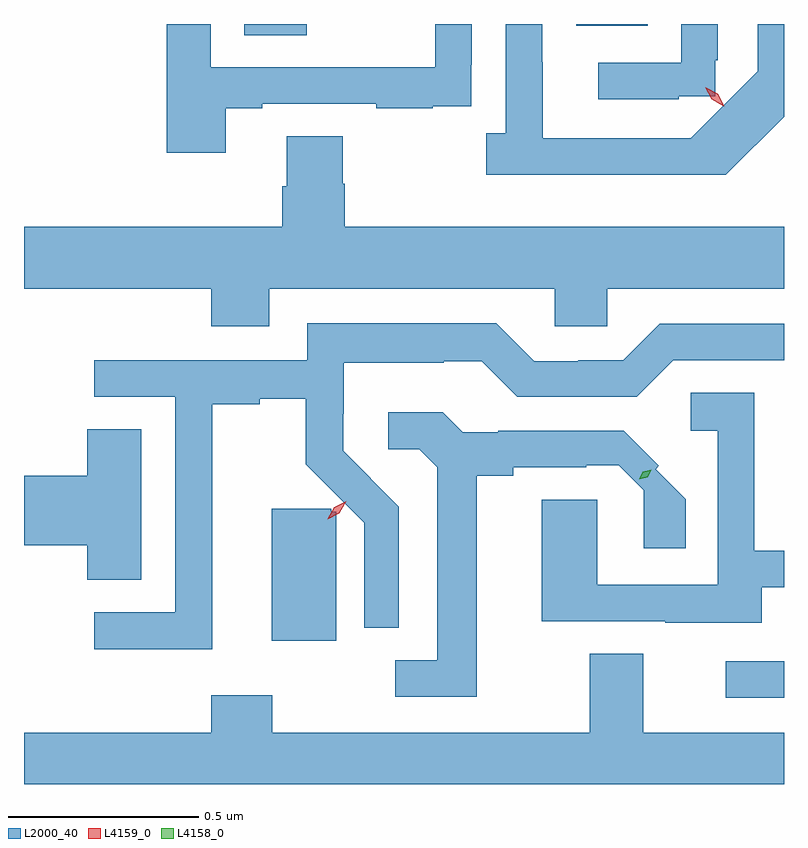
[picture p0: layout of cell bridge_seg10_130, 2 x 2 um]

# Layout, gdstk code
import gdstk
lib = gdstk.Library(unit=1e-6, precision=1e-09)
def R(c, l, rs):  # rectangles x0, y0, x1, y1
    for r in rs: c.add(gdstk.rectangle(r[:2], r[2:], *l))
def P(c, l, *ps):  # polygons
    for p in ps: c.add(gdstk.Polygon(p, *l))
L2000_40 = (2000, 40)
L4158_0 = (4158, 0)
L4159_0 = (4159, 0)

bridge_seg10_130 = lib.new_cell('bridge_seg10_130')
R(bridge_seg10_130, L2000_40, [(364.611,1291.248,364.764,1291.344), (363.344,1292.992,363.508,1293.021), (364.217,1293.017,364.405,1293.021)])
P(bridge_seg10_130, L2000_40, [(364.764,1292.777),(364.764,1293.021),(364.695,1293.021),(364.695,1292.897),(364.519,1292.721),(364.129,1292.721),(364.129,1292.921),(364.128,1292.921),(364.128,1293.021),(364.032,1293.021),(364.032,1292.734),(363.981,1292.734),(363.981,1292.624),(364.611,1292.624)],
  [(364.487,1292.831),(364.583,1292.831),(364.583,1292.926),(364.59,1292.926),(364.59,1293.021),(364.494,1293.021),(364.494,1292.919),(364.275,1292.919),(364.275,1292.823),(364.487,1292.823)],
  [(363.295,1292.799),(363.391,1292.799),(363.391,1292.811),(363.691,1292.811),(363.691,1292.799),(363.839,1292.799),(363.839,1292.805),(363.941,1292.805),(363.941,1292.914),(363.942,1292.914),(363.942,1293.021),(363.846,1293.021),(363.846,1292.907),(363.255,1292.907),(363.255,1293.021),(363.139,1293.021),(363.139,1292.682),(363.295,1292.682)],
  [(363.409,1292.324),(364.161,1292.324),(364.161,1292.226),(364.299,1292.226),(364.299,1292.324),(364.764,1292.324),(364.764,1292.488),(363.608,1292.488),(363.608,1292.601),(363.603,1292.601),(363.603,1292.726),(363.455,1292.726),(363.455,1292.594),(363.443,1292.594),(363.443,1292.488),(362.764,1292.488),(362.764,1292.324),(363.257,1292.324),(363.257,1292.225),(363.409,1292.225)],
  [(363.259,1292.02),(363.384,1292.02),(363.384,1292.035),(363.505,1292.035),(363.505,1291.863),(363.66,1291.709),(363.66,1291.432),(363.75,1291.432),(363.75,1291.75),(363.604,1291.898),(363.604,1291.995),(363.606,1291.995),(363.606,1292.129),(363.869,1292.129),(363.869,1292.133),(363.969,1292.133),(364.062,1292.04),(364.377,1292.04),(364.473,1292.136),(364.764,1292.136),(364.764,1292.232),(364.437,1292.232),(364.341,1292.136),(364.223,1292.136),(364.223,1292.133),(364.107,1292.133),(364.007,1292.233),(363.51,1292.233),(363.51,1292.136),(362.949,1292.136),(362.949,1292.04),(363.162,1292.04),(363.162,1291.473),(362.949,1291.473),(362.949,1291.375),(363.259,1291.375)],
  [(364.705,1291.539),(364.764,1291.539),(364.764,1291.635),(364.686,1291.635),(364.686,1292.051),(364.518,1292.051),(364.518,1291.95),(364.59,1291.95),(364.59,1291.545),(364.273,1291.545),(364.273,1291.769),(364.127,1291.769),(364.127,1291.449),(364.451,1291.449),(364.451,1291.445),(364.705,1291.445)],
  [(363.955,1291.832),(364.051,1291.832),(364.051,1291.854),(364.244,1291.854),(364.244,1291.86),(364.329,1291.86),(364.395,1291.794),(364.395,1291.641),(364.505,1291.641),(364.505,1291.77),(364.426,1291.849),(364.435,1291.858),(364.342,1291.95),(364.012,1291.95),(364.012,1291.947),(363.918,1291.947),(363.866,1291.999),(363.723,1291.999),(363.723,1291.902),(363.804,1291.902),(363.851,1291.855),(363.851,1291.347),(363.741,1291.347),(363.741,1291.251),(363.955,1291.251)],
  [(363.073,1291.955),(362.93,1291.955),(362.93,1291.832),(362.764,1291.832),(362.764,1291.649),(362.93,1291.649),(362.93,1291.558),(363.073,1291.558)],
  [(363.586,1291.738),(363.573,1291.738),(363.573,1291.746),(363.416,1291.746),(363.416,1291.398),(363.586,1291.398)],
  [(364.764,1291.156),(364.393,1291.156),(364.393,1291.364),(364.253,1291.364),(364.253,1291.156),(363.417,1291.156),(363.417,1291.255),(363.257,1291.255),(363.257,1291.156),(362.764,1291.156),(362.764,1291.021),(364.764,1291.021)])
P(bridge_seg10_130, L4158_0, [(364.383,1291.823),(364.383,1291.823),(364.392,1291.843),(364.414,1291.848),(364.415,1291.848),(364.415,1291.848),(364.405,1291.828),(364.383,1291.823)])
P(bridge_seg10_130, L4159_0, [(364.606,1292.805),(364.574,1292.823),(364.557,1292.855),(364.557,1292.855),(364.557,1292.855),(364.589,1292.837),(364.607,1292.805),(364.607,1292.805)],
  [(363.563,1291.718),(363.563,1291.719),(363.581,1291.749),(363.612,1291.765),(363.612,1291.765),(363.612,1291.765),(363.594,1291.734),(363.563,1291.718)])

lib.write_gds('bridge_seg10_130.gds')
